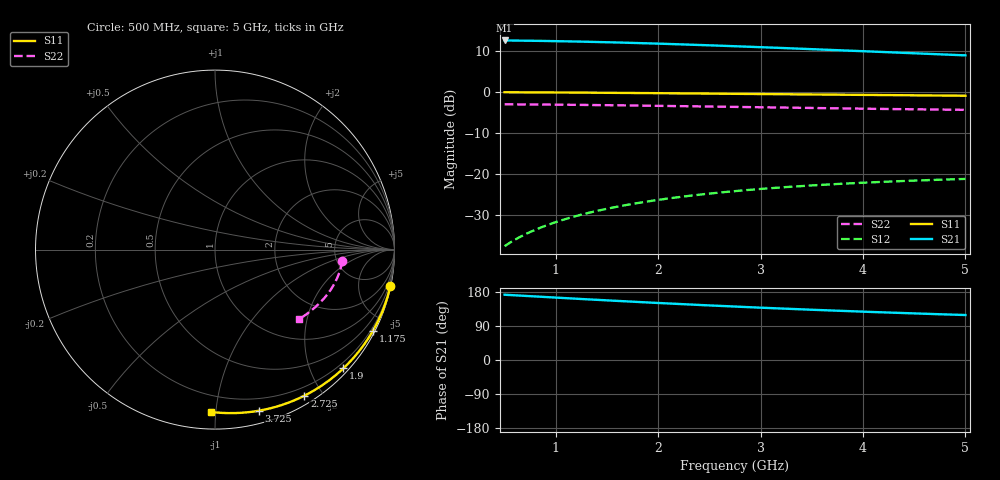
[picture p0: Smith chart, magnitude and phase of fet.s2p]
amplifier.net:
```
! =====================================================================
! amplifier.net - TẦNG KHUẾCH ĐẠI TRANSISTOR CÓ HỒI TIẾP (KHÔNG THUẬN NGHỊCH)
! =====================================================================
! Mục đích: mạng có transistor KHÔNG thuận nghịch (S12 != S21) và một vòng
! hồi tiếp kín, dùng để kiểm chứng thuật toán nối cổng trên trường hợp khó.
!
! Transistor đọc từ fet.s2p (mô hình FET tín hiệu nhỏ, |S21/S12| ~ 40..160 lần
! -> KHÔNG thuận nghịch rõ rệt).
!
! Vai trò của điện trở HỒI TIẾP RFB:
! RFB tạo một VÒNG KÍN G1 -> Q1 -> D1 -> RFB -> G1 bao quanh transistor, nên khi
! rút gọn bằng cách nối từng cặp sẽ gặp trường hợp hai cổng được nối nằm trong
! CÙNG một ma trận S và đường truyền giữa chúng không thuận nghịch
! (S[p,q] != S[q,p]). Một mạch cascade thuần (chỉ nối tiếp từng khối) không có
! vòng kín như vậy nên không kiểm tra được trường hợp này.
!
! Topo:
!                    +--------- RFB (500 ohm) ---------+
!                    |                                 |
!   PORT1 --TLI(50,45d)-- G1 --[Q1: FET từ fet.s2p]-- D1 --TLO(50,45d)-- PORT2
!                    |                                 |
!              STI(75,30d,open)                 STO(75,30d,short)
!
! Nút G1 và D1 mỗi nút có 4 chân -> netlist.py tự chèn mối nối 4 cổng.
! =====================================================================

FREQ START=1.0G STOP=4.0G POINTS=301

PORT 1 IN
PORT 2 OUT

! --- mạng phối hợp đầu vào: đoạn dây 50 ohm + stub hở mạch ---
TLINE TLI  IN  G1  Z0=50   EL=45 F0=2.4G
STUB  STI  G1      Z0=75   EL=30 F0=2.4G TERM=open

! --- transistor (khối không thuận nghịch, lấy từ file Touchstone) ---
S2P   Q1   G1  D1  FILE=fet.s2p INTERP=ri

! --- hồi tiếp song song: tạo vòng kín bao quanh transistor ---
RES   RFB  G1  D1  R=500

! --- mạng phối hợp đầu ra: stub ngắn mạch + đoạn dây 50 ohm ---
STUB  STO  D1      Z0=75   EL=30 F0=2.4G TERM=short
TLINE TLO  D1  OUT Z0=50   EL=45 F0=2.4G
```
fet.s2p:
! FET tín hiệu nhỏ (mô hình nội: Cgs=0.5pF Cgd=0.05pF Cds=0.1pF gm=50mS Rds=300 Ri=4 tau=1ps)
! KHÔNG THUẬN NGHỊCH: S21 != S12 -> dùng để kiểm chứng thuật toán nối cổng
# GHz S RI R 50
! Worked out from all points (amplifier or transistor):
!   181 points, 500 MHz to 5 GHz, reference 50 ohm
!   highest |S21| = 12.6 dB at 500 MHz (marker M1)
!   |S21| within 3 dB of that: start of sweep to 4.383 GHz
!   unconditionally stable (mu >= 1): nowhere
!   at 1.25 GHz: K = 0.05, MSG = 21.0 dB, |S12| = -29.8 dB
!   at 2.75 GHz: K = 0.12, MSG = 17.6 dB, |S12| = -24.1 dB
!   at 5 GHz: K = 0.21, MSG = 15.0 dB, |S12| = -21.1 dB
!   S11 on the Smith chart (normalised r, x): 500 MHz: 0.10, -9.69; 1.175 GHz: 0.10, -4.12; 1.9 GHz: 0.10, -2.55; 2.725 GHz: 0.10, -1.78; 3.725 GHz: 0.10, -1.30; 5 GHz: 0.10, -0.97
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0.5  0.9769 -0.2038  -4.219 0.5752  0.00164 0.0133  0.7091 -0.0629
0.8  0.942 -0.3198  -4.118 0.9018  0.00412 0.0208  0.7014 -0.0993
1.175  0.8794 -0.4529  -3.937 1.276  0.00856 0.0293  0.6873 -0.1424
1.9  0.7153 -0.6615  -3.462 1.857  0.0202 0.0423  0.6503 -0.2152
2.3  0.6113 -0.7463  -3.162 2.09  0.0275 0.0473  0.6264 -0.249
2.725  0.498 -0.814  -2.834 2.272  0.0355 0.0511  0.6001 -0.2801
2.75  0.4913 -0.8173  -2.815 2.281  0.0359 0.0512  0.5985 -0.2818
3.225  0.3672 -0.8674  -2.457 2.411  0.0446 0.0536  0.5691 -0.3111
3.725  0.2441 -0.8977  -2.103 2.482  0.0532 0.0544  0.5391 -0.3371
4.325  0.1104 -0.9108  -1.719 2.501  0.0624 0.0538  0.5052 -0.3631
5  -0.0202 -0.9047  -1.346 2.461  0.0713 0.0516  0.4703 -0.3876
